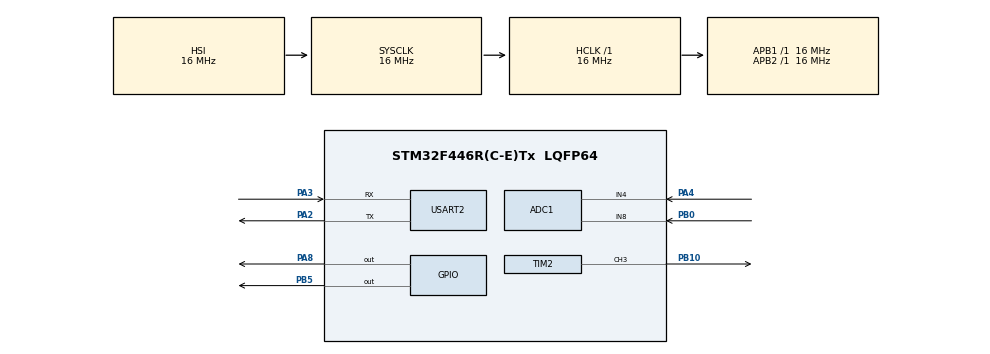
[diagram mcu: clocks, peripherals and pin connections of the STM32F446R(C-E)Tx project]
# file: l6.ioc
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ADC1.Channel-0\#ChannelRegularConversion=ADC_CHANNEL_8
ADC1.Channel-1\#ChannelRegularConversion=ADC_CHANNEL_4
ADC1.ContinuousConvMode=ENABLE
ADC1.DMAContinuousRequests=ENABLE
ADC1.NbrOfConversion=2
ADC1.NbrOfConversionFlag=1
ADC1.Rank-0\#ChannelRegularConversion=1
ADC1.Rank-1\#ChannelRegularConversion=2
ADC1.SamplingTime-0\#ChannelRegularConversion=ADC_SAMPLETIME_3CYCLES
ADC1.SamplingTime-1\#ChannelRegularConversion=ADC_SAMPLETIME_3CYCLES
ADC1.master=1
Dma.ADC1.1.Direction=DMA_PERIPH_TO_MEMORY
Dma.ADC1.1.FIFOMode=DMA_FIFOMODE_DISABLE
Dma.ADC1.1.Instance=DMA2_Stream0
Dma.ADC1.1.MemDataAlignment=DMA_MDATAALIGN_HALFWORD
Dma.ADC1.1.MemInc=DMA_MINC_ENABLE
Dma.ADC1.1.Mode=DMA_CIRCULAR
Dma.ADC1.1.PeriphDataAlignment=DMA_PDATAALIGN_HALFWORD
Dma.ADC1.1.PeriphInc=DMA_PINC_DISABLE
Dma.ADC1.1.Priority=DMA_PRIORITY_LOW
Dma.Request0=USART2_TX
Dma.Request1=ADC1
Dma.USART2_TX.0.Direction=DMA_MEMORY_TO_PERIPH
Dma.USART2_TX.0.FIFOMode=DMA_FIFOMODE_DISABLE
Dma.USART2_TX.0.Instance=DMA1_Stream6
Dma.USART2_TX.0.MemDataAlignment=DMA_MDATAALIGN_BYTE
Dma.USART2_TX.0.MemInc=DMA_MINC_ENABLE
Dma.USART2_TX.0.Mode=DMA_NORMAL
Dma.USART2_TX.0.PeriphDataAlignment=DMA_PDATAALIGN_BYTE
Dma.USART2_TX.0.PeriphInc=DMA_PINC_DISABLE
Dma.USART2_TX.0.Priority=DMA_PRIORITY_LOW
Mcu.Family=STM32F4
Mcu.Name=STM32F446R(C-E)Tx
Mcu.Package=LQFP64
NVIC.DMA1_Stream6_IRQn=true\:0\:0\:false\:false\:true\:false\:true\:true
NVIC.DMA2_Stream0_IRQn=true\:0\:0\:false\:false\:true\:false\:true\:true
NVIC.PriorityGroup=NVIC_PRIORITYGROUP_4
NVIC.TIM7_IRQn=true\:0\:0\:false\:false\:true\:true\:true\:true
NVIC.USART2_IRQn=true\:0\:0\:false\:false\:true\:true\:true\:true
PA2.Mode=Asynchronous
PA2.Signal=USART2_TX
PA3.Mode=Asynchronous
PA3.Signal=USART2_RX
PA4.Signal=ADCx_IN4
PA8.Signal=GPIO_Output
PB0.Signal=ADCx_IN8
PB10.Signal=S_TIM2_CH3
PB5.Signal=GPIO_Output
PH0-OSC_IN.Mode=HSE-External-Oscillator
PH0-OSC_IN.Signal=RCC_OSC_IN
PH1-OSC_OUT.Mode=HSE-External-Oscillator
PH1-OSC_OUT.Signal=RCC_OSC_OUT
ProjectManager.HeapSize=0x200
ProjectManager.StackSize=0x400
ProjectManager.TargetToolchain=STM32CubeIDE
RCC.AHBFreq_Value=16000000
RCC.APB1Freq_Value=16000000
RCC.APB1TimFreq_Value=16000000
RCC.APB2Freq_Value=16000000
RCC.APB2TimFreq_Value=16000000
RCC.CortexFreq_Value=16000000
RCC.HCLKFreq_Value=16000000
RCC.HSE_VALUE=25000000
RCC.SYSCLKFreq_VALUE=16000000
RCC.USBFreq_Value=96000000
RCC.VCOOutputFreq_Value=192000000
SH.ADCx_IN4.0=ADC1_IN4,IN4
SH.ADCx_IN8.0=ADC1_IN8,IN8
SH.S_TIM2_CH3.0=TIM2_CH3,PWM Generation3 CH3
TIM2.Channel-PWM\ Generation3\ CH3=TIM_CHANNEL_3
TIM2.Period=99
TIM2.Prescaler=159
TIM7.Period=99
TIM7.Prescaler=159
USART2.VirtualMode=VM_ASYNC
VP_TIM2_VS_ClockSourceINT.Mode=Internal
VP_TIM7_VS_ClockSourceINT.Mode=Enable_Timer
board=custom

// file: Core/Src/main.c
/* USER CODE BEGIN Header */
/**
  ******************************************************************************
  * @file           : main.c
  * @brief          : Main program body
  ******************************************************************************
  * @attention
  *
  * Copyright (c) 2023 STMicroelectronics.
  * All rights reserved.
  *
  * This software is licensed under terms that can be found in the LICENSE file
  * in the root directory of this software component.
  * If no LICENSE file comes with this software, it is provided AS-IS.
  *
  ******************************************************************************
  */
/* USER CODE END Header */
#include "main.h"

ADC_HandleTypeDef hadc1;
DMA_HandleTypeDef hdma_adc1;

TIM_HandleTypeDef htim2;
TIM_HandleTypeDef htim7;

UART_HandleTypeDef huart2;
DMA_HandleTypeDef hdma_usart2_tx;

void SystemClock_Config(void);
static void MX_GPIO_Init(void);
static void MX_DMA_Init(void);
static void MX_ADC1_Init(void);
static void MX_TIM2_Init(void);
static void MX_TIM7_Init(void);
static void MX_USART2_UART_Init(void);

/* USER CODE BEGIN 0 */
typedef struct {
	uint32_t header;
	float control;
	float pos_motor;
	float potenz_out;
	uint32_t terminator;
}outputData;

outputData txData;
volatile uint16_t adc_value[2] = {0,};
/* USER CODE END 0 */

int main(void)
{

  /* MCU Configuration--------------------------------------------------------*/

  /* Reset of all peripherals, Initializes the Flash interface and the Systick. */
  HAL_Init();

  /* Configure the system clock */
  SystemClock_Config();

  /* Initialize all configured peripherals */
  MX_GPIO_Init();
  MX_DMA_Init();
  MX_ADC1_Init();
  MX_TIM2_Init();
  MX_TIM7_Init();
  MX_USART2_UART_Init();
  /* USER CODE BEGIN 2 */
  HAL_TIM_PWM_Start(&htim2, TIM_CHANNEL_3);
  HAL_TIM_Base_Start_IT(&htim7);
  HAL_ADC_Start_DMA(&hadc1, (uint32_t*)&adc_value,2 );
  /* USER CODE END 2 */

  /* Infinite loop */
  while (1)
  {

  }
}

void SystemClock_Config(void)
{
  RCC_OscInitTypeDef RCC_OscInitStruct = {0};
  RCC_ClkInitTypeDef RCC_ClkInitStruct = {0};

  /** Configure the main internal regulator output voltage
  */
  __HAL_RCC_PWR_CLK_ENABLE();
  __HAL_PWR_VOLTAGESCALING_CONFIG(PWR_REGULATOR_VOLTAGE_SCALE3);

  /** Initializes the RCC Oscillators according to the specified parameters
  * in the RCC_OscInitTypeDef structure.
  */
  RCC_OscInitStruct.OscillatorType = RCC_OSCILLATORTYPE_HSI;
  RCC_OscInitStruct.HSIState = RCC_HSI_ON;
  RCC_OscInitStruct.HSICalibrationValue = RCC_HSICALIBRATION_DEFAULT;
  RCC_OscInitStruct.PLL.PLLState = RCC_PLL_NONE;
  if (HAL_RCC_OscConfig(&RCC_OscInitStruct) != HAL_OK)
  {
    Error_Handler();
  }

  /** Initializes the CPU, AHB and APB buses clocks
  */
  RCC_ClkInitStruct.ClockType = RCC_CLOCKTYPE_HCLK|RCC_CLOCKTYPE_SYSCLK
                              |RCC_CLOCKTYPE_PCLK1|RCC_CLOCKTYPE_PCLK2;
  RCC_ClkInitStruct.SYSCLKSource = RCC_SYSCLKSOURCE_HSI;
  RCC_ClkInitStruct.AHBCLKDivider = RCC_SYSCLK_DIV1;
  RCC_ClkInitStruct.APB1CLKDivider = RCC_HCLK_DIV1;
  RCC_ClkInitStruct.APB2CLKDivider = RCC_HCLK_DIV1;

  if (HAL_RCC_ClockConfig(&RCC_ClkInitStruct, FLASH_LATENCY_0) != HAL_OK)
  {
    Error_Handler();
  }
}

static void MX_ADC1_Init(void)
{

  ADC_ChannelConfTypeDef sConfig = {0};

  /** Configure the global features of the ADC (Clock, Resolution, Data Alignment and number of conversion)
  */
  hadc1.Instance = ADC1;
  hadc1.Init.ClockPrescaler = ADC_CLOCK_SYNC_PCLK_DIV2;
  hadc1.Init.Resolution = ADC_RESOLUTION_12B;
  hadc1.Init.ScanConvMode = ENABLE;
  hadc1.Init.ContinuousConvMode = ENABLE;
  hadc1.Init.DiscontinuousConvMode = DISABLE;
  hadc1.Init.ExternalTrigConvEdge = ADC_EXTERNALTRIGCONVEDGE_NONE;
  hadc1.Init.ExternalTrigConv = ADC_SOFTWARE_START;
  hadc1.Init.DataAlign = ADC_DATAALIGN_RIGHT;
  hadc1.Init.NbrOfConversion = 2;
  hadc1.Init.DMAContinuousRequests = ENABLE;
  hadc1.Init.EOCSelection = ADC_EOC_SINGLE_CONV;
  if (HAL_ADC_Init(&hadc1) != HAL_OK)
  {
    Error_Handler();
  }

  /** Configure for the selected ADC regular channel its corresponding rank in the sequencer and its sample time.
  */
  sConfig.Channel = ADC_CHANNEL_8;
  sConfig.Rank = 1;
  sConfig.SamplingTime = ADC_SAMPLETIME_3CYCLES;
  if (HAL_ADC_ConfigChannel(&hadc1, &sConfig) != HAL_OK)
  {
    Error_Handler();
  }

  /** Configure for the selected ADC regular channel its corresponding rank in the sequencer and its sample time.
  */
  sConfig.Channel = ADC_CHANNEL_4;
  sConfig.Rank = 2;
  if (HAL_ADC_ConfigChannel(&hadc1, &sConfig) != HAL_OK)
  {
    Error_Handler();
  }

}

static void MX_TIM2_Init(void)
{

  TIM_ClockConfigTypeDef sClockSourceConfig = {0};
  TIM_MasterConfigTypeDef sMasterConfig = {0};
  TIM_OC_InitTypeDef sConfigOC = {0};

  htim2.Instance = TIM2;
  htim2.Init.Prescaler = 159;
  htim2.Init.CounterMode = TIM_COUNTERMODE_UP;
  htim2.Init.Period = 99;
  htim2.Init.ClockDivision = TIM_CLOCKDIVISION_DIV1;
  htim2.Init.AutoReloadPreload = TIM_AUTORELOAD_PRELOAD_DISABLE;
  if (HAL_TIM_Base_Init(&htim2) != HAL_OK)
  {
    Error_Handler();
  }
  sClockSourceConfig.ClockSource = TIM_CLOCKSOURCE_INTERNAL;
  if (HAL_TIM_ConfigClockSource(&htim2, &sClockSourceConfig) != HAL_OK)
  {
    Error_Handler();
  }
  if (HAL_TIM_PWM_Init(&htim2) != HAL_OK)
  {
    Error_Handler();
  }
  sMasterConfig.MasterOutputTrigger = TIM_TRGO_RESET;
  sMasterConfig.MasterSlaveMode = TIM_MASTERSLAVEMODE_DISABLE;
  if (HAL_TIMEx_MasterConfigSynchronization(&htim2, &sMasterConfig) != HAL_OK)
  {
    Error_Handler();
  }
  sConfigOC.OCMode = TIM_OCMODE_PWM1;
  sConfigOC.Pulse = 0;
  sConfigOC.OCPolarity = TIM_OCPOLARITY_HIGH;
  sConfigOC.OCFastMode = TIM_OCFAST_DISABLE;
  if (HAL_TIM_PWM_ConfigChannel(&htim2, &sConfigOC, TIM_CHANNEL_3) != HAL_OK)
  {
    Error_Handler();
  }
  HAL_TIM_MspPostInit(&htim2);

}

static void MX_TIM7_Init(void)
{

  TIM_MasterConfigTypeDef sMasterConfig = {0};

  htim7.Instance = TIM7;
  htim7.Init.Prescaler = 159;
  htim7.Init.CounterMode = TIM_COUNTERMODE_UP;
  htim7.Init.Period = 99;
  htim7.Init.AutoReloadPreload = TIM_AUTORELOAD_PRELOAD_DISABLE;
  if (HAL_TIM_Base_Init(&htim7) != HAL_OK)
  {
    Error_Handler();
  }
  sMasterConfig.MasterOutputTrigger = TIM_TRGO_RESET;
  sMasterConfig.MasterSlaveMode = TIM_MASTERSLAVEMODE_DISABLE;
  if (HAL_TIMEx_MasterConfigSynchronization(&htim7, &sMasterConfig) != HAL_OK)
  {
    Error_Handler();
  }

}

static void MX_USART2_UART_Init(void)
{

  huart2.Instance = USART2;
  huart2.Init.BaudRate = 115200;
  huart2.Init.WordLength = UART_WORDLENGTH_8B;
  huart2.Init.StopBits = UART_STOPBITS_1;
  huart2.Init.Parity = UART_PARITY_NONE;
  huart2.Init.Mode = UART_MODE_TX_RX;
  huart2.Init.HwFlowCtl = UART_HWCONTROL_NONE;
  huart2.Init.OverSampling = UART_OVERSAMPLING_16;
  if (HAL_UART_Init(&huart2) != HAL_OK)
  {
    Error_Handler();
  }

}

static void MX_DMA_Init(void)
{

  /* DMA controller clock enable */
  __HAL_RCC_DMA1_CLK_ENABLE();
  __HAL_RCC_DMA2_CLK_ENABLE();

  /* DMA interrupt init */
  /* DMA1_Stream6_IRQn interrupt configuration */
  HAL_NVIC_SetPriority(DMA1_Stream6_IRQn, 0, 0);
  HAL_NVIC_EnableIRQ(DMA1_Stream6_IRQn);
  /* DMA2_Stream0_IRQn interrupt configuration */
  HAL_NVIC_SetPriority(DMA2_Stream0_IRQn, 0, 0);
  HAL_NVIC_EnableIRQ(DMA2_Stream0_IRQn);

}

static void MX_GPIO_Init(void)
{
  GPIO_InitTypeDef GPIO_InitStruct = {0};

  /* GPIO Ports Clock Enable */
  __HAL_RCC_GPIOH_CLK_ENABLE();
  __HAL_RCC_GPIOA_CLK_ENABLE();
  __HAL_RCC_GPIOB_CLK_ENABLE();

  /*Configure GPIO pin Output Level */
  HAL_GPIO_WritePin(GPIOA, GPIO_PIN_8, GPIO_PIN_RESET);

  /*Configure GPIO pin Output Level */
  HAL_GPIO_WritePin(GPIOB, GPIO_PIN_5, GPIO_PIN_RESET);

  /*Configure GPIO pin : PA8 */
  GPIO_InitStruct.Pin = GPIO_PIN_8;
  GPIO_InitStruct.Mode = GPIO_MODE_OUTPUT_PP;
  GPIO_InitStruct.Pull = GPIO_NOPULL;
  GPIO_InitStruct.Speed = GPIO_SPEED_FREQ_LOW;
  HAL_GPIO_Init(GPIOA, &GPIO_InitStruct);

  /*Configure GPIO pin : PB5 */
  GPIO_InitStruct.Pin = GPIO_PIN_5;
  GPIO_InitStruct.Mode = GPIO_MODE_OUTPUT_PP;
  GPIO_InitStruct.Pull = GPIO_NOPULL;
  GPIO_InitStruct.Speed = GPIO_SPEED_FREQ_LOW;
  HAL_GPIO_Init(GPIOB, &GPIO_InitStruct);

}

/* USER CODE BEGIN 4 */
int last_e = 0;
float ui = 0.0;
void HAL_TIM_PeriodElapsedCallback(TIM_HandleTypeDef* htim)
{
	int32_t potenz_value = adc_value[1];
	int32_t motor_value = adc_value[0];
	if(potenz_value < 120)
	{
		potenz_value = 120;
	}
	if(potenz_value > 3930)
	{
		potenz_value = 3930;
	}

	int e = potenz_value - motor_value;
	last_e = e;

	float up = 0.1*e;
	float ud = 0.0005*(e - last_e);
	ui = ui + (e * (0.0003 * 0.001));
	if (ui > 20)
	{
		ui = 5;
	}
	float u = up + ud ; // + ui

	if (u > 100)
	{
		u = 100;
	}
	if(u < -100)
	{
		u = -100;
	}

	txData.header = 'rrrr';
	txData.control = u;
	txData.pos_motor = motor_value;
	txData.potenz_out = potenz_value;
	txData.terminator = 'nnnn';
	HAL_UART_Transmit_DMA (&huart2, &txData, sizeof(txData));

	if (abs(e) < 80)
	{
		u = 0;
	}
	rotare((int)u);
}

void rotare ( int pwm ){
 if( pwm > 0){
	 HAL_GPIO_WritePin(GPIOA , GPIO_PIN_8 , 0);
	 __HAL_TIM_SET_COMPARE(&htim2 , TIM_CHANNEL_3 , pwm);
 } else if ( pwm < 0){
		 HAL_GPIO_WritePin( GPIOA , GPIO_PIN_8 , 1);
		 __HAL_TIM_SET_COMPARE(&htim2 , TIM_CHANNEL_3 , -pwm);
 } else {
	 __HAL_TIM_SET_COMPARE(&htim2 , TIM_CHANNEL_3 , 0);
 }
}
/* USER CODE END 4 */

void Error_Handler(void)
{
  __disable_irq();
  while (1)
  {
  }
}
